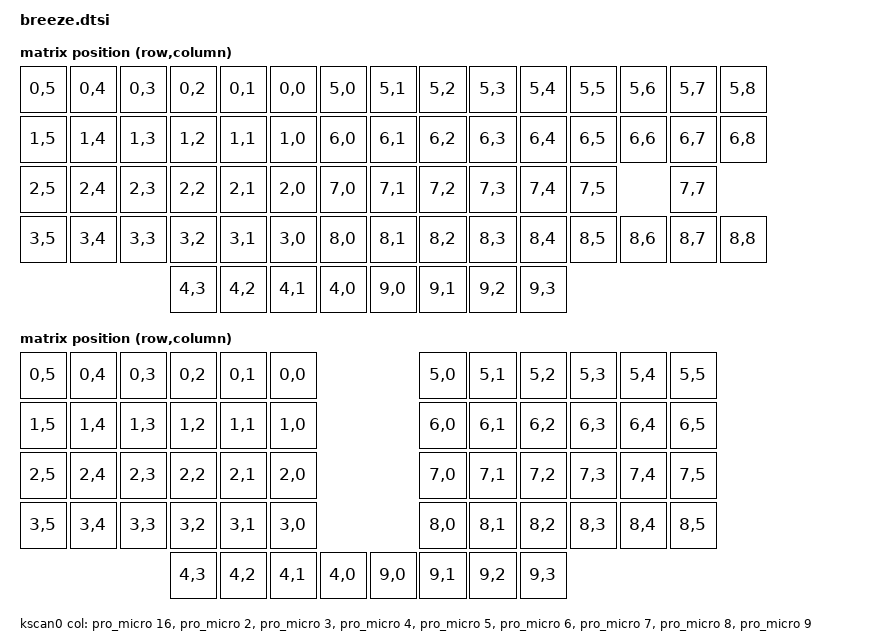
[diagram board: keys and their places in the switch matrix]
/*
 * Copyright (c) 2022 The ZMK Contributors
 *
 * SPDX-License-Identifier: MIT
 */

#include <dt-bindings/zmk/matrix_transform.h>

/ {
	chosen {
		zmk,kscan = &kscan0;
		zmk,matrix_transform = &default_transform;
	};

	default_transform: keymap_transform_0 {
		compatible = "zmk,matrix-transform";
		columns = <9>;
		rows = <10>;
// | SW6  | SW5  | SW4  | SW3  | SW2  | SW1  |                 | SW1  | SW2  | SW3  | SW4  | SW5  | SW6  | MC1  | MC2  | MC3  |
// | SW12 | SW11 | SW10 | SW9  | SW8  | SW7  |                 | SW7  | SW8  | SW9  | SW10 | SW11 | SW12 | MC4  | MC5  | MC6  |
// | SW18 | SW17 | SW16 | SW15 | SW14 | SW13 |                 | SW13 | SW14 | SW15 | SW16 | SW17 | SW18 |      |  ↑   |      |
// | SW24 | SW23 | SW22 | SW21 | SW20 | SW19 |                 | SW19 | SW20 | SW21 | SW22 | SW23 | SW24 |  ←   |  ↓   |  →   |
//                      | TC4  | TC3  | TC2  | TC1  |   | TC1  | TC2  | TC3  | TC4  |
		map = <
RC(0,5) RC(0,4) RC(0,3) RC(0,2) RC(0,1) RC(0,0)                 RC(5,0) RC(5,1) RC(5,2) RC(5,3) RC(5,4) RC(5,5) RC(5,6) RC(5,7) RC(5,8)
RC(1,5) RC(1,4) RC(1,3) RC(1,2) RC(1,1) RC(1,0)                 RC(6,0) RC(6,1) RC(6,2) RC(6,3) RC(6,4) RC(6,5) RC(6,6) RC(6,7) RC(6,8)
RC(2,5) RC(2,4) RC(2,3) RC(2,2) RC(2,1) RC(2,0)                 RC(7,0) RC(7,1) RC(7,2) RC(7,3) RC(7,4) RC(7,5)         RC(7,7)
RC(3,5) RC(3,4) RC(3,3) RC(3,2) RC(3,1) RC(3,0)                 RC(8,0) RC(8,1) RC(8,2) RC(8,3) RC(8,4) RC(8,5) RC(8,6) RC(8,7) RC(8,8)
                        RC(4,3) RC(4,2) RC(4,1) RC(4,0) RC(9,0) RC(9,1) RC(9,2) RC(9,3)
		>;
	};

	five_column_transform: keymap_transform_1 {
		compatible = "zmk,matrix-transform";
		columns = <6>;
		rows = <10>;
// | SW6  | SW5  | SW4  | SW3  | SW2  | SW1  |                 | SW1  | SW2  | SW3  | SW4  | SW5  | SW6  |
// | SW12 | SW11 | SW10 | SW9  | SW8  | SW7  |                 | SW7  | SW8  | SW9  | SW10 | SW11 | SW12 |
// | SW18 | SW17 | SW16 | SW15 | SW14 | SW13 |                 | SW13 | SW14 | SW15 | SW16 | SW17 | SW18 |
// | SW24 | SW23 | SW22 | SW21 | SW20 | SW19 |                 | SW19 | SW20 | SW21 | SW22 | SW23 | SW24 |
//                      | TC4  | TC3  | TC2  | TC1  |   | TC1  | TC2  | TC3  | TC4  |
		map = <
RC(0,5) RC(0,4) RC(0,3) RC(0,2) RC(0,1) RC(0,0)                 RC(5,0) RC(5,1) RC(5,2) RC(5,3) RC(5,4) RC(5,5)
RC(1,5) RC(1,4) RC(1,3) RC(1,2) RC(1,1) RC(1,0)                 RC(6,0) RC(6,1) RC(6,2) RC(6,3) RC(6,4) RC(6,5)
RC(2,5) RC(2,4) RC(2,3) RC(2,2) RC(2,1) RC(2,0)                 RC(7,0) RC(7,1) RC(7,2) RC(7,3) RC(7,4) RC(7,5)
RC(3,5) RC(3,4) RC(3,3) RC(3,2) RC(3,1) RC(3,0)                 RC(8,0) RC(8,1) RC(8,2) RC(8,3) RC(8,4) RC(8,5)
                        RC(4,3) RC(4,2) RC(4,1) RC(4,0) RC(9,0) RC(9,1) RC(9,2) RC(9,3)
		>;
	};


	kscan0: kscan {
		compatible = "zmk,kscan-gpio-matrix";
		label = "KSCAN";

		diode-direction = "col2row";
		col-gpios
			= <&pro_micro 16 GPIO_ACTIVE_HIGH>
			, <&pro_micro 2  GPIO_ACTIVE_HIGH>
			, <&pro_micro 3  GPIO_ACTIVE_HIGH>
			, <&pro_micro 4  GPIO_ACTIVE_HIGH>
			, <&pro_micro 5  GPIO_ACTIVE_HIGH>
			, <&pro_micro 6  GPIO_ACTIVE_HIGH>
			, <&pro_micro 7  GPIO_ACTIVE_HIGH>
			, <&pro_micro 8  GPIO_ACTIVE_HIGH>
			, <&pro_micro 9  GPIO_ACTIVE_HIGH>
			;
	};
};
